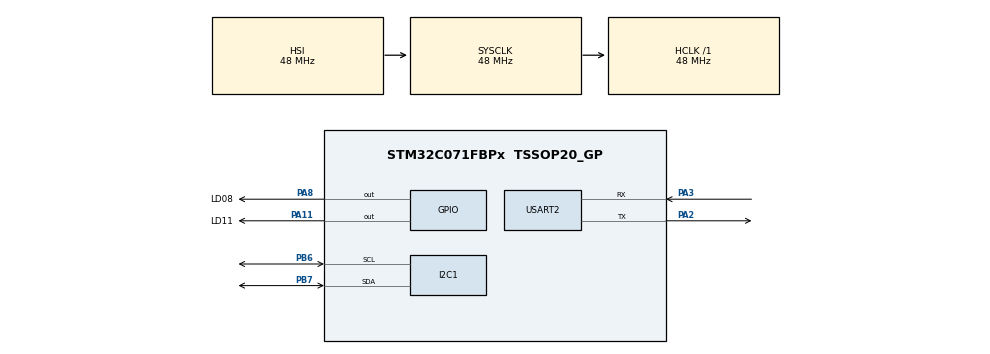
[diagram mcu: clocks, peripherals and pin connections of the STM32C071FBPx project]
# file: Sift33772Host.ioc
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Dma.Request0=USART2_RX
Dma.Request1=USART2_TX
Dma.USART2_RX.0.Direction=DMA_PERIPH_TO_MEMORY
Dma.USART2_RX.0.EventEnable=DISABLE
Dma.USART2_RX.0.Instance=DMA1_Channel1
Dma.USART2_RX.0.MemDataAlignment=DMA_MDATAALIGN_BYTE
Dma.USART2_RX.0.MemInc=DMA_MINC_ENABLE
Dma.USART2_RX.0.Mode=DMA_NORMAL
Dma.USART2_RX.0.PeriphDataAlignment=DMA_PDATAALIGN_BYTE
Dma.USART2_RX.0.PeriphInc=DMA_PINC_DISABLE
Dma.USART2_RX.0.Polarity=HAL_DMAMUX_REQ_GEN_RISING
Dma.USART2_RX.0.Priority=DMA_PRIORITY_LOW
Dma.USART2_RX.0.RequestNumber=1
Dma.USART2_RX.0.SignalID=NONE
Dma.USART2_RX.0.SyncEnable=DISABLE
Dma.USART2_RX.0.SyncPolarity=HAL_DMAMUX_SYNC_NO_EVENT
Dma.USART2_RX.0.SyncRequestNumber=1
Dma.USART2_RX.0.SyncSignalID=NONE
Dma.USART2_TX.1.Direction=DMA_MEMORY_TO_PERIPH
Dma.USART2_TX.1.EventEnable=DISABLE
Dma.USART2_TX.1.Instance=DMA1_Channel2
Dma.USART2_TX.1.MemDataAlignment=DMA_MDATAALIGN_BYTE
Dma.USART2_TX.1.MemInc=DMA_MINC_ENABLE
Dma.USART2_TX.1.Mode=DMA_NORMAL
Dma.USART2_TX.1.PeriphDataAlignment=DMA_PDATAALIGN_BYTE
Dma.USART2_TX.1.PeriphInc=DMA_PINC_DISABLE
Dma.USART2_TX.1.Polarity=HAL_DMAMUX_REQ_GEN_RISING
Dma.USART2_TX.1.Priority=DMA_PRIORITY_LOW
Dma.USART2_TX.1.RequestNumber=1
Dma.USART2_TX.1.SignalID=NONE
Dma.USART2_TX.1.SyncEnable=DISABLE
Dma.USART2_TX.1.SyncPolarity=HAL_DMAMUX_SYNC_NO_EVENT
Dma.USART2_TX.1.SyncRequestNumber=1
Dma.USART2_TX.1.SyncSignalID=NONE
I2C1.Timing=0x10805D88
Mcu.Family=STM32C0
Mcu.Name=STM32C071FBPx
Mcu.Package=TSSOP20_GP
NVIC.DMA1_Channel1_IRQn=true\:0\:0\:false\:false\:true\:false\:true\:true
NVIC.DMA1_Channel2_3_IRQn=true\:0\:0\:false\:false\:true\:false\:true\:true
NVIC.USART2_IRQn=true\:0\:0\:false\:false\:true\:true\:true\:true
PA11\ [PA9].GPIO_Label=LD11
PA11\ [PA9].Signal=GPIO_Output
PA13.Mode=Serial_Wire
PA13.Signal=DEBUG_SWDIO
PA14-BOOT0.Mode=Serial_Wire
PA14-BOOT0.Signal=DEBUG_SWCLK
PA14-BOOT0__PA15.StandardMode=true
PA2.Mode=Asynchronous
PA2.Signal=USART2_TX
PA3.Mode=Asynchronous
PA3.Signal=USART2_RX
PA8.GPIO_Label=LD08
PA8.Signal=GPIO_Output
PB3__PB4__PB5__PB6.StandardMode=true
PB6.Mode=I2C
PB6.Signal=I2C1_SCL
PB7.Mode=I2C
PB7.Signal=I2C1_SDA
PB7__PB8.StandardMode=true
ProjectManager.HeapSize=0x200
ProjectManager.StackSize=0x400
ProjectManager.TargetToolchain=CMake
RCC.ADCFreq_Value=48000000
RCC.AHBFreq_Value=48000000
RCC.CortexFreq_Value=48000000
RCC.EXTERNAL_CLOCK_VALUE=12288000
RCC.HCLKFreq_Value=48000000
RCC.HSE_VALUE=8000000
RCC.HSI48_VALUE=48000000
RCC.HSISYSCLKDivider=RCC_HSI_DIV1
RCC.HSI_VALUE=48000000
RCC.LSE_VALUE=32768
RCC.SYSCLKFreq_VALUE=48000000
USART2.VirtualMode-Asynchronous=VM_ASYNC
VP_FLASH_SIG_Activate_FlashIP.Mode=Activate_FlashIP
board=custom

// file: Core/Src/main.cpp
/* USER CODE BEGIN Header */
/**
  ******************************************************************************
  * @file           : main.cpp
  * @brief          : Main program body
  ******************************************************************************
  * @attention
  *
  * Copyright (c) 2025 StackableSoundBoard project.
  * All rights reserved, Released under the MIT license
  ******************************************************************************
*/
/* USER CODE END Header */
#include "main.h"

/* USER CODE BEGIN Includes */
#include "AP33772S.hpp"
#include "MB85RCxxV.hpp"
#include <stdint.h>
#include <stdio.h>
#include <string.h>
#include <cstdlib>

#include "ntlibc.h"
#include "ntopt.h"
#include "ntshell.h"
#include "stm32c0xx_hal_def.h"
#include "stm32c0xx_hal_gpio.h"
/* USER CODE END Includes */

/* USER CODE BEGIN PTD */
ntshell_t ntshell;
typedef int (*USRCMDFUNC)(int argc, char **argv);

typedef struct{
  bool isHidden;
  char *cmd;
  char *description;
  USRCMDFUNC func;
} CMD_Table_T;

typedef struct{
  uint16_t Req_MinVoltage;
  uint16_t Req_MaxVoltage;
  uint16_t Req_Current;
} Request_PDO_T;
/* USER CODE END PTD */

/* USER CODE BEGIN PD */
#define UNUSED_VARIABLE(N)  do { (void)(N); } while (0)
#define EEPROM_START_ADDRESS  ((uint32_t)0x0801E000)
#ifndef GIT_COMMIT_HASH
  #define GIT_COMMIT_HASH "Unknown"
#endif

uint8_t UART_Rx_Buffer[64] = {0};
uint8_t UART_Tx_Buffer[64] = {0};
int     RequestedPDOIdx = 0xff;
/* USER CODE END PD */

I2C_HandleTypeDef hi2c1;

UART_HandleTypeDef huart2;
DMA_HandleTypeDef hdma_usart2_rx;
DMA_HandleTypeDef hdma_usart2_tx;

/* USER CODE BEGIN PV */
MB85RC::MB85RC04V_C mb85rc04(&hi2c1, 0b010);
AP33772S::AP33772S_C ap33772s(&hi2c1);
/* USER CODE END PV */

void SystemClock_Config(void);
static void MX_GPIO_Init(void);
static void MX_DMA_Init(void);
static void MX_I2C1_Init(void);
static void MX_USART2_UART_Init(void);
static void MX_FLASH_Init(void);
/* USER CODE BEGIN PFP */

static int CMD_help(int argc, char **argv);
static int CMD_info(int argc, char **argv);
static int CMD_CRLF(int argc, char **argv);
static int CMD_EEPROM_Read(int argc, char **argv);
static int CMD_AS33772S_GetSRCPDOList(int argc, char **argv);
// static int CMD_AS33772S_GetDevPDOList(int argc, char **argv);
// static int CMD_AS33772S_SetDevPDO    (int argc, char **argv);
// static int CMD_AS33772S_SetDevPDOList(int argc, char **argv);
// static int CMD_AS33772S_SendRequest  (int argc, char **argv);
// static int CMD_AS33772S_GetStatus    (int argc, char **argv);
// static int CMD_AS33772S_SaveEEPROM   (int argc, char **argv);

static int func_write(const char *buf, int cnt, void *extobj);
static int usrcmd_ntopt_callback(int argc, char **argv, void *extobj);
static int func_callback(const char *text, void *extobj);
void       HAL_UARTEx_RxEventCallback(UART_HandleTypeDef *huart, uint16_t Size);

static const CMD_Table_T CommandList[] = {
    { true,  (char*)"help", (char*)"Print help menu", CMD_help},
    { false, (char*)"info", (char*)"Print Device information", CMD_info},
    { false, (char*)"CRLF", (char*)"Set CR/LF Option", CMD_CRLF},
    { true,  (char*)"EEPR", (char*)"Load EEPROM Data",CMD_EEPROM_Read},
    { false, (char*)"SPDO", (char*)"Show Source PDO data",CMD_AS33772S_GetSRCPDOList},

};

const char GIT_HASH[] = GIT_COMMIT_HASH;
/* USER CODE END PFP */

/* USER CODE BEGIN 0 */

static int func_write(const char *buf, int cnt, void *extobj){
  UNUSED(extobj);
  return  (HAL_UART_Transmit(&huart2, (uint8_t*)buf, cnt, HAL_MAX_DELAY)==HAL_OK)? cnt : 0;
}

static int usrcmd_ntopt_callback(int argc, char **argv, void *extobj){
    UNUSED(extobj);
    if (argc == 0) {
        return 0;
    }
    const CMD_Table_T *p = &CommandList[0];
    for (unsigned int i = 0; i < sizeof(CommandList) / sizeof(CommandList[0]); i++) {
        if (ntlibc_strcmp((const char *)argv[0], p->cmd) == 0) {
            return p->func(argc, argv);
        }
        p++;
    }
    // uart_puts("Unknown command found.\r\n");
    return 0;
}

static int func_callback(const char *text, void *extobj){
  ntshell_t *ntshell = (ntshell_t *)extobj;
  UNUSED(ntshell);
  UNUSED(extobj);
  if (ntlibc_strlen(text) > 0){
    ntopt_parse(text, usrcmd_ntopt_callback, 0);
    // snprintf(msg, sizeof(msg), "cmd:%s\r\n", text);
    // HAL_UART_Transmit(&huart2, (const uint8_t*)msg, ntlibc_strlen(msg),HAL_MAX_DELAY);
    // HAL_GPIO_TogglePin(USER_LED_GPIO_Port, USER_LED_Pin);
  }

  return 0;
}

void HAL_UARTEx_RxEventCallback(UART_HandleTypeDef *huart, uint16_t Size){
  if(huart->Instance == USART2){
    static uint8_t tmp[64];
    if (Size > sizeof(tmp)) Size = sizeof(tmp);
    memcpy(tmp, UART_Rx_Buffer, Size);
    vtrecv_execute(&(ntshell.vtrecv), tmp, Size);
    HAL_UARTEx_ReceiveToIdle_DMA(&huart2, UART_Rx_Buffer, sizeof(UART_Rx_Buffer));
  }
}

static int CMD_help(int argc, char **argv){
  UNUSED(argc);
  UNUSED(argv);

  snprintf((char*)UART_Tx_Buffer, sizeof(UART_Tx_Buffer), "[Command List]%s", ntshell_newline(&ntshell));
  HAL_UART_Transmit(&huart2, UART_Tx_Buffer, ntlibc_strlen((const char*)UART_Tx_Buffer), HAL_MAX_DELAY);

  for (uint32_t i=0;i<sizeof(CommandList)/sizeof(CommandList[0]);i++){
    if(!CommandList[i].isHidden){
      snprintf((char*)UART_Tx_Buffer, sizeof(UART_Tx_Buffer), "# %s:\t%s%s", CommandList[i].cmd, CommandList[i].description, ntshell_newline(&ntshell));
      HAL_UART_Transmit(&huart2, UART_Tx_Buffer, ntlibc_strlen((const char*)UART_Tx_Buffer), HAL_MAX_DELAY);
    }
  }
  return 0;
}

static int CMD_info(int argc, char **argv){
  UNUSED(argc);
  UNUSED(argv);
  snprintf((char*)UART_Tx_Buffer, sizeof(UART_Tx_Buffer), "MPU Freq:%ldHz%s", HAL_RCC_GetHCLKFreq(), ntshell_newline(&ntshell));
  HAL_UART_Transmit(&huart2, UART_Tx_Buffer, ntlibc_strlen((const char*)UART_Tx_Buffer), HAL_MAX_DELAY);

  snprintf((char*)UART_Tx_Buffer, sizeof(UART_Tx_Buffer), "HAL Ver :%0x%s", (unsigned int)HAL_GetHalVersion(), ntshell_newline(&ntshell));
  HAL_UART_Transmit(&huart2, UART_Tx_Buffer, ntlibc_strlen((const char*)UART_Tx_Buffer), HAL_MAX_DELAY);

  snprintf((char*)UART_Tx_Buffer, sizeof(UART_Tx_Buffer), "Rev Ver :%0x%s", (unsigned int)HAL_GetREVID(), ntshell_newline(&ntshell));
  HAL_UART_Transmit(&huart2, UART_Tx_Buffer, ntlibc_strlen((const char*)UART_Tx_Buffer), HAL_MAX_DELAY);

  return 0;
}

static int CMD_CRLF(int argc, char **argv){
  if(argc==2){
    if(ntlibc_strncmp(argv[1], "CRLF", 5)==0)       {ntshell_crlf(&ntshell, true, true); return 0;}
    else if  (ntlibc_strncmp(argv[1], "LF", 5)==0)  {ntshell_crlf(&ntshell, false, true); return 0;}
  }
    snprintf((char*)UART_Tx_Buffer, sizeof(UART_Tx_Buffer), "CRLF [LF|CRLF]%s", ntshell_newline(&ntshell));
    HAL_UART_Transmit(&huart2, UART_Tx_Buffer, ntlibc_strlen((const char*)UART_Tx_Buffer), HAL_MAX_DELAY);
    return -1;
}

static int CMD_EEPROM_Read(int argc, char **argv){
  if(argc ==2){
    uint32_t Address = strtol(argv[1], NULL, 16);;
      if(Address >= EEPROM_START_ADDRESS && Address < EEPROM_START_ADDRESS+0x2000){
      uint32_t val = *(volatile uint32_t*)Address;
      snprintf((char*)UART_Tx_Buffer, sizeof(UART_Tx_Buffer), "0x%08X 0x%08X %s", (unsigned int)Address, (unsigned int)val, ntshell_newline(&ntshell));
      HAL_UART_Transmit(&huart2, UART_Tx_Buffer, ntlibc_strlen((const char*)UART_Tx_Buffer), HAL_MAX_DELAY);
    }
    return 0;
  }
  return -1;
}

static int CMD_AS33772S_GetSRCPDOList(int argc, char **argv){
  if(argc == 2){
    if(ntlibc_strncmp(argv[1], "?", 2)==0){
      snprintf((char*)UART_Tx_Buffer, sizeof(UART_Tx_Buffer), "Num of Source PDOs %d%s", ap33772s.FindPDO_Nums(), ntshell_newline(&ntshell));
      HAL_UART_Transmit(&huart2, UART_Tx_Buffer, ntlibc_strlen((const char*)UART_Tx_Buffer), HAL_MAX_DELAY);
    }else{
      uint32_t Itr = strtol(argv[1], NULL, 10);
      for(uint32_t i=0;i<Itr;i++){
        uint32_t VoltCoef = ((i>=7)&ap33772s.EPRStatus()) ? 2 : 1; // Index:8-14 is EPR(200mV step)
        if(ap33772s.SrcPDO_List[i].Type==AP33772S::ADPO) {
          snprintf((char*)UART_Tx_Buffer, sizeof(UART_Tx_Buffer), "[%2ld]\tAPDO\t%3d-%3d [100mV], %3d[mA] %s%s",i,
            (ap33772s.SrcPDO_List[i].VoltageMax==1)? 33:50,
            ap33772s.SrcPDO_List[i].VoltageMax,
            ap33772s.SrcPDO_List[i].MaxCurrent(ap33772s.SrcPDO_List[i].CurrentMax),
            (i==RequestedPDOIdx)?"*":"",
            ntshell_newline(&ntshell)
          );
        HAL_UART_Transmit(&huart2, UART_Tx_Buffer, ntlibc_strlen((const char*)UART_Tx_Buffer), HAL_MAX_DELAY);
        }else {
          snprintf((char*)UART_Tx_Buffer, sizeof(UART_Tx_Buffer), "[%2ld]\tFixed\t%7d [100mV], %3d[mA]%s%s",
            i,
            ap33772s.SrcPDO_List[i].VoltageMax * VoltCoef,
            ap33772s.SrcPDO_List[i].MaxCurrent(ap33772s.SrcPDO_List[i].CurrentMax),
            (i==RequestedPDOIdx)?"*":"",
            ntshell_newline(&ntshell)
          );
        HAL_UART_Transmit(&huart2, UART_Tx_Buffer, ntlibc_strlen((const char*)UART_Tx_Buffer), HAL_MAX_DELAY);

        }
      }
    }
  }
  return -1;
}
/* USER CODE END 0 */

int main(void)
{

  /* MCU Configuration--------------------------------------------------------*/

  /* Reset of all peripherals, Initializes the Flash interface and the Systick. */
  HAL_Init();

  /* Configure the system clock */
  SystemClock_Config();

  /* Initialize all configured peripherals */
  MX_GPIO_Init();
  MX_DMA_Init();
  MX_I2C1_Init();
  MX_USART2_UART_Init();
  MX_FLASH_Init();
  /* USER CODE BEGIN 2 */

  HAL_GPIO_WritePin(LD08_GPIO_Port, LD08_Pin, GPIO_PIN_RESET);
  HAL_GPIO_WritePin(LD11_GPIO_Port, LD11_Pin, GPIO_PIN_RESET);

  uint8_t buf = 0;
  uint8_t vreq[2] ={0};

  // USB-Cコネクタを刺して起動した場合に何故か1回だとうまくいかないため2回発行する
  for(int ii=0;ii<2;ii++){
    HAL_Delay(300);
    ap33772s.Read_SrcPDO(true);
    ap33772s.SetVout(false);
    ap33772s.WaitResponse(15);
  }

  Request_PDO_T Request_PDO={65, 75, 2000};
  uint8_t PDOIdx = 0xff;
  uint16_t ADPOVolatge100mV = 0;
  bool IsAPDO = true;
  PDOIdx = ap33772s.FindPDO_ADPO(Request_PDO.Req_MinVoltage, Request_PDO.Req_MaxVoltage, Request_PDO.Req_Current, AP33772S::MinWatt, ADPOVolatge100mV);
  if(PDOIdx == 0xff){
    IsAPDO = false;
    PDOIdx = ap33772s.FindPDO_Fixed(Request_PDO.Req_MinVoltage, Request_PDO.Req_MaxVoltage, Request_PDO.Req_Current, AP33772S::MinWatt);
  }

  if(PDOIdx != 0xff){
    for(int ii=0;ii<2;ii++){
      if(IsAPDO) buf = ap33772s.ReqAPDO(PDOIdx, ADPOVolatge100mV, Request_PDO.Req_Current);
      else       buf = ap33772s.ReqFixed(PDOIdx, Request_PDO.Req_Current);

      ap33772s.WaitResponse();
    }
    RequestedPDOIdx = ap33772s.RequestedPDO_Idx();
    ap33772s.SetVout(true);
    ap33772s.WaitResponse(15);
    HAL_GPIO_TogglePin(LD11_GPIO_Port, LD11_Pin);
  }else {
    // Cannot find PDO, status=fail
    HAL_GPIO_TogglePin(LD08_GPIO_Port, LD08_Pin);
  }

  // HAL_I2C_Mem_Read(&hi2c1, 0x52<<1, AP33772S::REG::PD_MSGRLT>>8, 1, &buf, 1, 100);
  // HAL_I2C_Mem_Read(&hi2c1, 0x52<<1, AP33772S::REG::VREQ>>8, 1, vreq, 2, 100);

  HAL_UARTEx_ReceiveToIdle_DMA(&huart2, UART_Rx_Buffer, sizeof(UART_Rx_Buffer));
  ntshell_init(
      &ntshell,
      NULL,
      func_write,
      func_callback,
      (void *)&ntshell);

  ntshell_crlf(&ntshell, true, true);

  snprintf((char*)UART_Tx_Buffer, sizeof(UART_Tx_Buffer), "%sAP33772S-SinkEval Rev:%s%s", ntshell_newline(&ntshell), GIT_HASH, ntshell_newline(&ntshell));
  HAL_UART_Transmit(&huart2, UART_Tx_Buffer, ntlibc_strlen((const char*)UART_Tx_Buffer), HAL_MAX_DELAY);

  snprintf((char*)UART_Tx_Buffer, sizeof(UART_Tx_Buffer), "# Copyright 2025 rooty19 (https://github.com/rooty19)%s", ntshell_newline(&ntshell), ntshell_newline(&ntshell));
  HAL_UART_Transmit(&huart2, UART_Tx_Buffer, ntlibc_strlen((const char*)UART_Tx_Buffer), HAL_MAX_DELAY);

  snprintf((char*)UART_Tx_Buffer, sizeof(UART_Tx_Buffer), "# Type \"CRLF [LF|CRLF]\" to change EOL.%s", ntshell_newline(&ntshell));
  HAL_UART_Transmit(&huart2, UART_Tx_Buffer, ntlibc_strlen((const char*)UART_Tx_Buffer), HAL_MAX_DELAY);

  ntshell_set_prompt(&ntshell, "> ");

  /* USER CODE END 2 */

  /* Infinite loop */
  /* USER CODE BEGIN WHILE */
  int cc = 0;
  char msg[32] = {0};
  while (1){
    /* USER CODE END WHILE */

  }
}

void SystemClock_Config(void)
{
  RCC_OscInitTypeDef RCC_OscInitStruct = {0};
  RCC_ClkInitTypeDef RCC_ClkInitStruct = {0};

  __HAL_FLASH_SET_LATENCY(FLASH_LATENCY_1);

  /** Initializes the RCC Oscillators according to the specified parameters
  * in the RCC_OscInitTypeDef structure.
  */
  RCC_OscInitStruct.OscillatorType = RCC_OSCILLATORTYPE_HSI;
  RCC_OscInitStruct.HSIState = RCC_HSI_ON;
  RCC_OscInitStruct.HSIDiv = RCC_HSI_DIV1;
  RCC_OscInitStruct.HSICalibrationValue = RCC_HSICALIBRATION_DEFAULT;
  if (HAL_RCC_OscConfig(&RCC_OscInitStruct) != HAL_OK)
  {
    Error_Handler();
  }

  /** Initializes the CPU, AHB and APB buses clocks
  */
  RCC_ClkInitStruct.ClockType = RCC_CLOCKTYPE_HCLK|RCC_CLOCKTYPE_SYSCLK
                              |RCC_CLOCKTYPE_PCLK1;
  RCC_ClkInitStruct.SYSCLKSource = RCC_SYSCLKSOURCE_HSI;
  RCC_ClkInitStruct.SYSCLKDivider = RCC_SYSCLK_DIV1;
  RCC_ClkInitStruct.AHBCLKDivider = RCC_HCLK_DIV1;
  RCC_ClkInitStruct.APB1CLKDivider = RCC_APB1_DIV1;

  if (HAL_RCC_ClockConfig(&RCC_ClkInitStruct, FLASH_LATENCY_1) != HAL_OK)
  {
    Error_Handler();
  }
}

static void MX_FLASH_Init(void)
{

  if (HAL_FLASH_Unlock() != HAL_OK)
  {
    Error_Handler();
  }
  if (HAL_FLASH_Lock() != HAL_OK)
  {
    Error_Handler();
  }

}

static void MX_I2C1_Init(void)
{

  hi2c1.Instance = I2C1;
  hi2c1.Init.Timing = 0x10805D88;
  hi2c1.Init.OwnAddress1 = 0;
  hi2c1.Init.AddressingMode = I2C_ADDRESSINGMODE_7BIT;
  hi2c1.Init.DualAddressMode = I2C_DUALADDRESS_DISABLE;
  hi2c1.Init.OwnAddress2 = 0;
  hi2c1.Init.OwnAddress2Masks = I2C_OA2_NOMASK;
  hi2c1.Init.GeneralCallMode = I2C_GENERALCALL_DISABLE;
  hi2c1.Init.NoStretchMode = I2C_NOSTRETCH_DISABLE;
  if (HAL_I2C_Init(&hi2c1) != HAL_OK)
  {
    Error_Handler();
  }

  /** Configure Analogue filter
  */
  if (HAL_I2CEx_ConfigAnalogFilter(&hi2c1, I2C_ANALOGFILTER_ENABLE) != HAL_OK)
  {
    Error_Handler();
  }

  /** Configure Digital filter
  */
  if (HAL_I2CEx_ConfigDigitalFilter(&hi2c1, 0) != HAL_OK)
  {
    Error_Handler();
  }

}

static void MX_USART2_UART_Init(void)
{

  huart2.Instance = USART2;
  huart2.Init.BaudRate = 115200;
  huart2.Init.WordLength = UART_WORDLENGTH_8B;
  huart2.Init.StopBits = UART_STOPBITS_1;
  huart2.Init.Parity = UART_PARITY_NONE;
  huart2.Init.Mode = UART_MODE_TX_RX;
  huart2.Init.HwFlowCtl = UART_HWCONTROL_NONE;
  huart2.Init.OverSampling = UART_OVERSAMPLING_16;
  huart2.Init.OneBitSampling = UART_ONE_BIT_SAMPLE_DISABLE;
  huart2.Init.ClockPrescaler = UART_PRESCALER_DIV1;
  huart2.AdvancedInit.AdvFeatureInit = UART_ADVFEATURE_NO_INIT;
  if (HAL_UART_Init(&huart2) != HAL_OK)
  {
    Error_Handler();
  }
  if (HAL_UARTEx_SetTxFifoThreshold(&huart2, UART_TXFIFO_THRESHOLD_1_8) != HAL_OK)
  {
    Error_Handler();
  }
  if (HAL_UARTEx_SetRxFifoThreshold(&huart2, UART_RXFIFO_THRESHOLD_1_8) != HAL_OK)
  {
    Error_Handler();
  }
  if (HAL_UARTEx_DisableFifoMode(&huart2) != HAL_OK)
  {
    Error_Handler();
  }

}

static void MX_DMA_Init(void)
{

  /* DMA controller clock enable */
  __HAL_RCC_DMA1_CLK_ENABLE();

  /* DMA interrupt init */
  /* DMA1_Channel1_IRQn interrupt configuration */
  HAL_NVIC_SetPriority(DMA1_Channel1_IRQn, 0, 0);
  HAL_NVIC_EnableIRQ(DMA1_Channel1_IRQn);
  /* DMA1_Channel2_3_IRQn interrupt configuration */
  HAL_NVIC_SetPriority(DMA1_Channel2_3_IRQn, 0, 0);
  HAL_NVIC_EnableIRQ(DMA1_Channel2_3_IRQn);

}

static void MX_GPIO_Init(void)
{
  GPIO_InitTypeDef GPIO_InitStruct = {0};

  /* GPIO Ports Clock Enable */
  __HAL_RCC_GPIOB_CLK_ENABLE();
  __HAL_RCC_GPIOA_CLK_ENABLE();

  /*Configure GPIO pin Output Level */
  HAL_GPIO_WritePin(GPIOA, LD08_Pin|LD11_Pin, GPIO_PIN_RESET);

  /*Configure GPIO pins : LD08_Pin LD11_Pin */
  GPIO_InitStruct.Pin = LD08_Pin|LD11_Pin;
  GPIO_InitStruct.Mode = GPIO_MODE_OUTPUT_PP;
  GPIO_InitStruct.Pull = GPIO_NOPULL;
  GPIO_InitStruct.Speed = GPIO_SPEED_FREQ_LOW;
  HAL_GPIO_Init(GPIOA, &GPIO_InitStruct);

}

void Error_Handler(void)
{
  __disable_irq();
  while (1)
  {
  }
}
